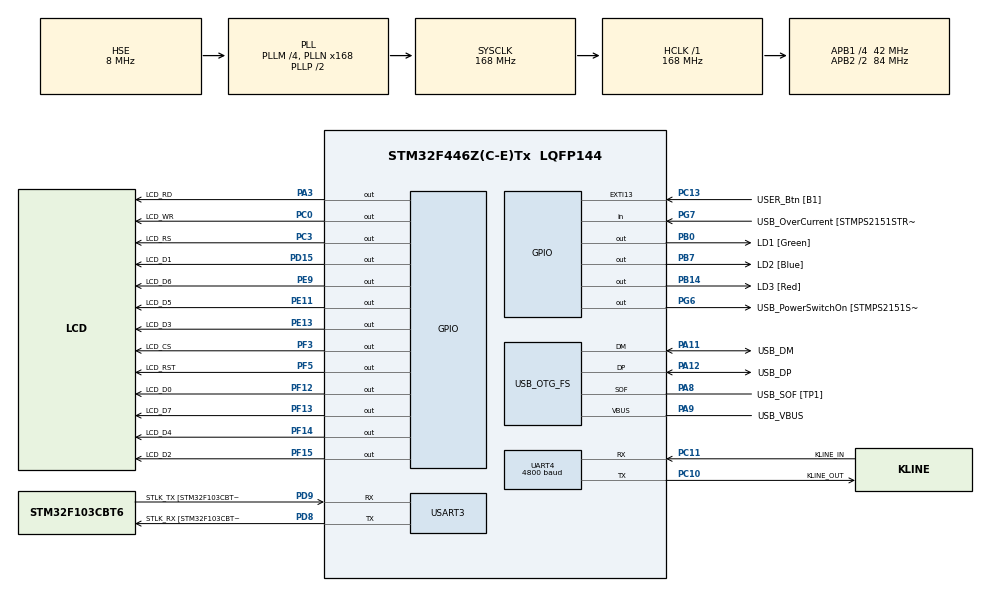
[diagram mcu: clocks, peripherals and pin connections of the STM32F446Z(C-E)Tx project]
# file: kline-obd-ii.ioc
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Mcu.Family=STM32F4
Mcu.Name=STM32F446Z(C-E)Tx
Mcu.Package=LQFP144
NVIC.OTG_FS_IRQn=true\:0\:0\:false\:false\:true\:false\:true\:true
NVIC.PriorityGroup=NVIC_PRIORITYGROUP_4
NVIC.TIM7_IRQn=true\:0\:0\:false\:false\:true\:true\:true\:true
NVIC.UART4_IRQn=true\:0\:0\:false\:false\:true\:true\:true\:true
NVIC.USART3_IRQn=true\:0\:0\:false\:false\:true\:true\:true\:true
PA10.GPIO_Label=USB_ID
PA10.Signal=USB_OTG_FS_ID
PA11.GPIO_Label=USB_DM
PA11.Mode=Host_Only
PA11.Signal=USB_OTG_FS_DM
PA12.GPIO_Label=USB_DP
PA12.Mode=Host_Only
PA12.Signal=USB_OTG_FS_DP
PA13.GPIO_Label=TMS
PA13.Mode=Serial_Wire
PA13.Signal=SYS_JTMS-SWDIO
PA14.GPIO_Label=TCK
PA14.Mode=Serial_Wire
PA14.Signal=SYS_JTCK-SWCLK
PA3.GPIO_Label=LCD_RD
PA3.GPIO_Speed=GPIO_SPEED_FREQ_VERY_HIGH
PA3.Signal=GPIO_Output
PA8.GPIO_Label=USB_SOF [TP1]
PA8.Mode=Activate_SOF_FS
PA8.Signal=USB_OTG_FS_SOF
PA9.GPIO_Label=USB_VBUS
PA9.Mode=Activate_VBUS
PA9.Signal=USB_OTG_FS_VBUS
PB0.GPIO_Label=LD1 [Green]
PB0.Signal=GPIO_Output
PB14.GPIO_Label=LD3 [Red]
PB14.Signal=GPIO_Output
PB7.GPIO_Label=LD2 [Blue]
PB7.Signal=GPIO_Output
PC0.GPIO_Label=LCD_WR
PC0.GPIO_Speed=GPIO_SPEED_FREQ_VERY_HIGH
PC0.Signal=GPIO_Output
PC10.GPIO_Label=KLINE_OUT
PC10.Mode=Asynchronous
PC10.Signal=UART4_TX
PC11.GPIO_Label=KLINE_IN
PC11.GPIO_ModeDefaultPP=GPIO_MODE_AF_PP
PC11.GPIO_PuPd=GPIO_NOPULL
PC11.Mode=Asynchronous
PC11.Signal=UART4_RX
PC13.GPIO_Label=USER_Btn [B1]
PC13.Signal=GPXTI13
PC14-OSC32_IN.Mode=LSE-External-Oscillator
PC14-OSC32_IN.Signal=RCC_OSC32_IN
PC15-OSC32_OUT.Mode=LSE-External-Oscillator
PC15-OSC32_OUT.Signal=RCC_OSC32_OUT
PC3.GPIO_Label=LCD_RS
PC3.GPIO_Speed=GPIO_SPEED_FREQ_VERY_HIGH
PC3.Signal=GPIO_Output
PD15.GPIO_Label=LCD_D1
PD15.GPIO_Speed=GPIO_SPEED_FREQ_VERY_HIGH
PD15.Signal=GPIO_Output
PD8.GPIO_Label=STLK_RX [STM32F103CBT6_PA3]
PD8.Mode=Asynchronous
PD8.Signal=USART3_TX
PD9.GPIO_Label=STLK_TX [STM32F103CBT6_PA2]
PD9.Mode=Asynchronous
PD9.Signal=USART3_RX
PE11.GPIO_Label=LCD_D5
PE11.GPIO_Speed=GPIO_SPEED_FREQ_VERY_HIGH
PE11.Signal=GPIO_Output
PE13.GPIO_Label=LCD_D3
PE13.GPIO_Speed=GPIO_SPEED_FREQ_VERY_HIGH
PE13.Signal=GPIO_Output
PE9.GPIO_Label=LCD_D6
PE9.GPIO_Speed=GPIO_SPEED_FREQ_VERY_HIGH
PE9.Signal=GPIO_Output
PF12.GPIO_Label=LCD_D0
PF12.GPIO_Speed=GPIO_SPEED_FREQ_VERY_HIGH
PF12.Signal=GPIO_Output
PF13.GPIO_Label=LCD_D7
PF13.GPIO_Speed=GPIO_SPEED_FREQ_VERY_HIGH
PF13.Signal=GPIO_Output
PF14.GPIO_Label=LCD_D4
PF14.GPIO_Speed=GPIO_SPEED_FREQ_VERY_HIGH
PF14.Signal=GPIO_Output
PF15.GPIO_Label=LCD_D2
PF15.GPIO_Speed=GPIO_SPEED_FREQ_VERY_HIGH
PF15.Signal=GPIO_Output
PF3.GPIO_Label=LCD_CS
PF3.GPIO_Speed=GPIO_SPEED_FREQ_VERY_HIGH
PF3.Signal=GPIO_Output
PF5.GPIO_Label=LCD_RST
PF5.GPIO_Speed=GPIO_SPEED_FREQ_VERY_HIGH
PF5.Signal=GPIO_Output
PG6.GPIO_Label=USB_PowerSwitchOn [STMPS2151STR_EN]
PG6.Signal=GPIO_Output
PG7.GPIO_Label=USB_OverCurrent [STMPS2151STR_FAULT]
PG7.Signal=GPIO_Input
PH0-OSC_IN.GPIO_Label=MCO [STM32F103CBT6_PA8]
PH0-OSC_IN.Mode=HSE-External-Clock-Source
PH0-OSC_IN.Signal=RCC_OSC_IN
PH1-OSC_OUT.Mode=HSE-External-Clock-Source
PH1-OSC_OUT.Signal=RCC_OSC_OUT
ProjectManager.HeapSize=0x200
ProjectManager.StackSize=0x400
ProjectManager.TargetToolchain=STM32CubeIDE
RCC.48MHZClocksFreq_Value=24000000
RCC.AHBFreq_Value=168000000
RCC.APB1CLKDivider=RCC_HCLK_DIV4
RCC.APB1Freq_Value=42000000
RCC.APB1TimFreq_Value=84000000
RCC.APB2CLKDivider=RCC_HCLK_DIV2
RCC.APB2Freq_Value=84000000
RCC.APB2TimFreq_Value=168000000
RCC.CortexFreq_Value=168000000
RCC.HCLKFreq_Value=168000000
RCC.HSE_VALUE=8000000
RCC.HSI_VALUE=16000000
RCC.PLLM=4
RCC.PLLMUL=RCC_PLL_MUL9
RCC.PLLN=168
RCC.PLLQ=7
RCC.PRESCALERUSB=RCC_USBCLKSOURCE_PLL_DIV1_5
RCC.SYSCLKFreq_VALUE=168000000
RCC.SYSCLKSource=RCC_SYSCLKSOURCE_PLLCLK
RCC.SYSCLKSourceVirtual=RCC_SYSCLKSOURCE_PLLCLK
RCC.USBFreq_Value=48000000
RCC.VCOOutputFreq_Value=336000000
TIM7.AutoReloadPreload=TIM_AUTORELOAD_PRELOAD_ENABLE
TIM7.Period=34999
TIM7.Prescaler=479
TIM7.TIM_MasterOutputTrigger=TIM_TRGO_ENABLE
UART4.BaudRate=4800
UART4.VirtualMode=Asynchronous
USART3.VirtualMode=VM_ASYNC
USB_HOST.BSP.number=1
USB_HOST.USBH_DEBUG_LEVEL-HID_FS=0
USB_HOST.USBH_HandleTypeDef-HID_FS=hUsbHostFS
USB_HOST.VirtualModeFS=Hid
USB_HOST0.BSP.STBoard=false
USB_HOST0.BSP.api=Unknown
USB_HOST0.BSP.instance=PG6
USB_HOST0.BSP.ip=GPIO
USB_HOST0.BSP.mode=Output
USB_HOST0.BSP.name=Drive_VBUS_FS
USB_HOST0.BSP.solution=PG6
USB_OTG_FS.VirtualMode=Host_Only
USB_OTG_FS.phy_itface=HCD_PHY_EMBEDDED
VP_TIM7_VS_ClockSourceINT.Mode=Enable_Timer
VP_USB_HOST_VS_USB_HOST_HID_FS.Mode=HID_FS
board=NUCLEO-F446ZE

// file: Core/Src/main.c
/* USER CODE BEGIN Header */
/**
  ******************************************************************************
  * @file           : main.c
  * @brief          : Main program body
  ******************************************************************************
  * @attention
  *
  * Copyright (c) 2023 STMicroelectronics.
  * All rights reserved.
  *
  * This software is licensed under terms that can be found in the LICENSE file
  * in the root directory of this software component.
  * If no LICENSE file comes with this software, it is provided AS-IS.
  *
  ******************************************************************************
  */
/* USER CODE END Header */
#include "main.h"
#include "usb_host.h"

/* USER CODE BEGIN Includes */
#include "lcd.h"
#include "kline.h"
#include "usbh_hid.h"
#include "usbh_hid_keybd.h"
#include "hid_keys.h"
#include <string.h>
/* USER CODE END Includes */

TIM_HandleTypeDef htim7;

UART_HandleTypeDef huart4;
UART_HandleTypeDef huart3;

void SystemClock_Config(void);
static void MX_GPIO_Init(void);
static void MX_USART3_UART_Init(void);
static void MX_TIM7_Init(void);
static void MX_UART4_Init(void);
void MX_USB_HOST_Process(void);

/* USER CODE BEGIN 0 */
void HAL_TIM_PeriodElapsedCallback(TIM_HandleTypeDef *htim) {
	if(htim != &htim7)
		return;

	kline_tim_callback();
}

char stdinbuffer[256];
extern ApplicationTypeDef Appli_state;
extern cursor_pos_t cursor_pos;
void update_lcd_command(uint8_t);
//extern USBH_HandleTypeDef hUsbHostFS;

uint8_t buttons_held[256 / 8];

void USBH_HID_EventCallback(USBH_HandleTypeDef *phost) {
	HID_KEYBD_Info_TypeDef *k_pinfo = USBH_HID_GetKeybdInfo(phost);
	if(k_pinfo != NULL) {
		uint8_t new_button = 0;
		for(uint8_t i = 0; i < sizeof(k_pinfo->keys); i++) {
			char c = k_pinfo->keys[i];
			if(c) {
				uint8_t ind = c / 8;
				uint8_t shift = c % 8;
				if((buttons_held[ind] >> shift) == 0) {
					new_button = c;
				}
			}
		}

		memset(buttons_held, 0, sizeof(buttons_held));

		for(uint8_t i = 0; i < sizeof(k_pinfo->keys); i++) {
			uint8_t c = k_pinfo->keys[i];
			if(c) {
				uint8_t ind = c / 8;
				uint8_t shift = c % 8;
				buttons_held[ind] |= (1 << shift);
			}
		}

		if(new_button) {
			/*if(new_button == KEY_ENTER && main_status == MAIN_LOOP_WAITING_FOR_ENTER) {
				main_status = MAIN_LOOP_RUNNING_INIT;
			} else if(new_button == KEY_SPACEBAR && expecting_chars == 0) {
				update_single_char('U', 0);
				expecting_chars = 2;
			} else if(expecting_chars) {
				char ascii_pressed = HID_KEYBRD_Key[HID_KEYBRD_Codes[new_button]];
				if(ascii_pressed >= '0' && ascii_pressed <= '9') {
					expecting_chars--;
					new_command = (new_command << 4) | (ascii_pressed - '0');
					update_single_char(ascii_pressed, 1);
				} else if (ascii_pressed >= 'a' && ascii_pressed <= 'f') {
					expecting_chars--;
					new_command = (new_command << 4) | (ascii_pressed - 'a' + 10);
					update_single_char(ascii_pressed, 1);
				} else if (ascii_pressed >= 'A' && ascii_pressed <= 'F') {
					expecting_chars--;
					new_command = (new_command << 4) | (ascii_pressed - 'A' + 10);
					update_single_char(ascii_pressed, 1);
				}

				if(!expecting_chars) {
					main_status = MAIN_LOOP_COMMANDS;
					current_command = new_command;
					update_lcd_command(new_command);
				}
			}*/

			/*
			uint8_t result;
			if(k_pinfo->lshift || k_pinfo->rshift) {
				result = HID_KEYBRD_ShiftKey[HID_KEYBRD_Codes[new_button]];
			} else {
				result = HID_KEYBRD_Key[HID_KEYBRD_Codes[new_button]];
			}
			if(result)
				lcd_text_putc(result);
			*/
		}
	}
}

/*void update_lcd_command(uint8_t pid) {
	lcd_clear();
	cursor_pos.row = 0;
	cursor_pos.col = 0;
	lcd_text_update_cursor();

	kline_update_command(pid);

	lcd_text_puts("Kline command: ");
	printf("Kline command: ");
	for(int i = 0; i < kline_command_len; i++) {
		lcd_text_printf("0x%02x ", kline_command[i]);
		printf("0x%02x ", kline_command[i]);
	}
	lcd_text_putc('\n');
	printf("\n");
}*/

enum main_loop_state {
	MAIN_LOOP_DELAY,
	MAIN_LOOP_GPIO_INIT,
	MAIN_LOOP_RUN_INIT,
	MAIN_LOOP_WAIT_FOR_RESPONSE,
	MAIN_LOOP_WAIT_UNTIL_INIT_DONE,
};

enum main_loop_state main_status;
struct {
	uint32_t switch_timestamp;
	enum main_loop_state new_state;
} delay_info;

void start_delay(uint32_t time, enum main_loop_state new_state) {
	delay_info.switch_timestamp = HAL_GetTick() + time;
	delay_info.new_state = new_state;
	main_status = MAIN_LOOP_DELAY;
}
/* USER CODE END 0 */

int main(void)
{
  /* USER CODE BEGIN 1 */
  setvbuf(stdin, stdinbuffer, _IOLBF, sizeof(stdinbuffer));

  /* USER CODE END 1 */

  /* MCU Configuration--------------------------------------------------------*/

  /* Reset of all peripherals, Initializes the Flash interface and the Systick. */
  HAL_Init();

  /* Configure the system clock */
  SystemClock_Config();

  /* Initialize all configured peripherals */
  MX_GPIO_Init();
  MX_USART3_UART_Init();
  MX_TIM7_Init();
  MX_UART4_Init();
  MX_USB_HOST_Init();
  /* USER CODE BEGIN 2 */

  printf("\n----- PROGRAM BEGIN -----\n");
  fflush(stdout);

  lcd_init();
  kline_setup(&htim7, &huart4);
  kline_5baud_gpio_init();
  start_delay(6000, MAIN_LOOP_GPIO_INIT);

  /* USER CODE END 2 */

  /* Infinite loop */
  /* USER CODE BEGIN WHILE */
  const uint8_t STARTING_ADDRESS = 0x30;
  uint8_t write_bytes = 0;
	uint32_t timestamp = 0;
	uint8_t address = STARTING_ADDRESS;

	kline_run_init(0xf7);
	while(!kline_init_done())
		;
	while(1) { }

  while (1)
  {
	// ...
    /* USER CODE END WHILE */
    MX_USB_HOST_Process();

    /* USER CODE BEGIN 3 */
	/*if(HAL_GPIO_ReadPin(USER_Btn_GPIO_Port, USER_Btn_Pin) == GPIO_PIN_SET) {
		if(main_status == MAIN_LOOP_DELAY) {
			main_status = MAIN_LOOP_SEND_REGULAR_COMMAND;
		}
	}*/

	switch(main_status) {
	case MAIN_LOOP_DELAY:
		if(HAL_GetTick() > delay_info.switch_timestamp) {
			main_status = delay_info.new_state;
		}
		break;
	case MAIN_LOOP_GPIO_INIT:
		start_delay(50, MAIN_LOOP_RUN_INIT);
		break;
	case MAIN_LOOP_RUN_INIT:
		if(timestamp && address == STARTING_ADDRESS){
			printf("Done. %u %u\n", timestamp, address);
			Error_Handler();
		}
		printf("Address 0x%02x ", address);
		fflush(stdout);
		kline_run_init(address);
		address++;
		main_status = MAIN_LOOP_WAIT_UNTIL_INIT_DONE;
		break;
	case MAIN_LOOP_WAIT_UNTIL_INIT_DONE:
		if(kline_init_done()) {
			main_status = MAIN_LOOP_WAIT_FOR_RESPONSE;
			timestamp = HAL_GetTick();
		}
		break;
	case MAIN_LOOP_WAIT_FOR_RESPONSE:
		if(HAL_GPIO_ReadPin(KLINE_IN_GPIO_Port, KLINE_IN_Pin) == GPIO_PIN_RESET) {
			printf(" OK!\n");
			start_delay(10000, MAIN_LOOP_GPIO_INIT);
		} else if(HAL_GetTick() > timestamp + 1100) {
			putchar('\n');
			main_status = MAIN_LOOP_GPIO_INIT;
		}
		fflush(stdout);

		break;
	}

	/*
	printf("Sending data\n");
	kw2_state = WAITING_FOR_SYNC;
	printf("Running init with address " STR(KLINE_INIT_ADDRESS) "\n");
	kline_run_init(KLINE_INIT_ADDRESS);

	while(kw2_state != WAITING_FOR_NOT_ADDR)
	  ;

	HAL_Delay(30);

	uint8_t data = not_kw2;
	HAL_ASSERT(HAL_UART_Transmit(&huart4, &data, 1, 1000));
	lcd_text_printf("Sent 0x%x\n", data);

	while(kw2_state != INIT_DONE)
	  ;

	HAL_Delay(2000);
	lcd_text_puts("Init successful\n");
	HAL_Delay(2000);
	update_lcd_command(current_command);
	lcd_clear();
	main_status = MAIN_LOOP_SEND_SPEED;
	*/
  /* USER CODE END 3 */
  }
}

void SystemClock_Config(void)
{
  RCC_OscInitTypeDef RCC_OscInitStruct = {0};
  RCC_ClkInitTypeDef RCC_ClkInitStruct = {0};

  /** Configure the main internal regulator output voltage
  */
  __HAL_RCC_PWR_CLK_ENABLE();
  __HAL_PWR_VOLTAGESCALING_CONFIG(PWR_REGULATOR_VOLTAGE_SCALE1);

  /** Initializes the RCC Oscillators according to the specified parameters
  * in the RCC_OscInitTypeDef structure.
  */
  RCC_OscInitStruct.OscillatorType = RCC_OSCILLATORTYPE_HSE;
  RCC_OscInitStruct.HSEState = RCC_HSE_BYPASS;
  RCC_OscInitStruct.PLL.PLLState = RCC_PLL_ON;
  RCC_OscInitStruct.PLL.PLLSource = RCC_PLLSOURCE_HSE;
  RCC_OscInitStruct.PLL.PLLM = 4;
  RCC_OscInitStruct.PLL.PLLN = 168;
  RCC_OscInitStruct.PLL.PLLP = RCC_PLLP_DIV2;
  RCC_OscInitStruct.PLL.PLLQ = 7;
  RCC_OscInitStruct.PLL.PLLR = 2;
  if (HAL_RCC_OscConfig(&RCC_OscInitStruct) != HAL_OK)
  {
    Error_Handler();
  }

  /** Initializes the CPU, AHB and APB buses clocks
  */
  RCC_ClkInitStruct.ClockType = RCC_CLOCKTYPE_HCLK|RCC_CLOCKTYPE_SYSCLK
                              |RCC_CLOCKTYPE_PCLK1|RCC_CLOCKTYPE_PCLK2;
  RCC_ClkInitStruct.SYSCLKSource = RCC_SYSCLKSOURCE_PLLCLK;
  RCC_ClkInitStruct.AHBCLKDivider = RCC_SYSCLK_DIV1;
  RCC_ClkInitStruct.APB1CLKDivider = RCC_HCLK_DIV4;
  RCC_ClkInitStruct.APB2CLKDivider = RCC_HCLK_DIV2;

  if (HAL_RCC_ClockConfig(&RCC_ClkInitStruct, FLASH_LATENCY_5) != HAL_OK)
  {
    Error_Handler();
  }
}

static void MX_TIM7_Init(void)
{

  TIM_MasterConfigTypeDef sMasterConfig = {0};

  htim7.Instance = TIM7;
  htim7.Init.Prescaler = 479;
  htim7.Init.CounterMode = TIM_COUNTERMODE_UP;
  htim7.Init.Period = 34999;
  htim7.Init.AutoReloadPreload = TIM_AUTORELOAD_PRELOAD_ENABLE;
  if (HAL_TIM_Base_Init(&htim7) != HAL_OK)
  {
    Error_Handler();
  }
  sMasterConfig.MasterOutputTrigger = TIM_TRGO_ENABLE;
  sMasterConfig.MasterSlaveMode = TIM_MASTERSLAVEMODE_DISABLE;
  if (HAL_TIMEx_MasterConfigSynchronization(&htim7, &sMasterConfig) != HAL_OK)
  {
    Error_Handler();
  }

}

static void MX_UART4_Init(void)
{

  huart4.Instance = UART4;
  huart4.Init.BaudRate = 4800;
  huart4.Init.WordLength = UART_WORDLENGTH_8B;
  huart4.Init.StopBits = UART_STOPBITS_1;
  huart4.Init.Parity = UART_PARITY_NONE;
  huart4.Init.Mode = UART_MODE_TX_RX;
  huart4.Init.HwFlowCtl = UART_HWCONTROL_NONE;
  huart4.Init.OverSampling = UART_OVERSAMPLING_16;
  if (HAL_UART_Init(&huart4) != HAL_OK)
  {
    Error_Handler();
  }

}

static void MX_USART3_UART_Init(void)
{

  huart3.Instance = USART3;
  huart3.Init.BaudRate = 115200;
  huart3.Init.WordLength = UART_WORDLENGTH_8B;
  huart3.Init.StopBits = UART_STOPBITS_1;
  huart3.Init.Parity = UART_PARITY_NONE;
  huart3.Init.Mode = UART_MODE_TX_RX;
  huart3.Init.HwFlowCtl = UART_HWCONTROL_NONE;
  huart3.Init.OverSampling = UART_OVERSAMPLING_16;
  if (HAL_UART_Init(&huart3) != HAL_OK)
  {
    Error_Handler();
  }

}

static void MX_GPIO_Init(void)
{
  GPIO_InitTypeDef GPIO_InitStruct = {0};

  /* GPIO Ports Clock Enable */
  __HAL_RCC_GPIOC_CLK_ENABLE();
  __HAL_RCC_GPIOF_CLK_ENABLE();
  __HAL_RCC_GPIOH_CLK_ENABLE();
  __HAL_RCC_GPIOA_CLK_ENABLE();
  __HAL_RCC_GPIOB_CLK_ENABLE();
  __HAL_RCC_GPIOE_CLK_ENABLE();
  __HAL_RCC_GPIOD_CLK_ENABLE();
  __HAL_RCC_GPIOG_CLK_ENABLE();

  /*Configure GPIO pin Output Level */
  HAL_GPIO_WritePin(GPIOF, LCD_CS_Pin|LCD_RST_Pin|LCD_D0_Pin|LCD_D7_Pin
                          |LCD_D4_Pin|LCD_D2_Pin, GPIO_PIN_RESET);

  /*Configure GPIO pin Output Level */
  HAL_GPIO_WritePin(GPIOC, LCD_WR_Pin|LCD_RS_Pin, GPIO_PIN_RESET);

  /*Configure GPIO pin Output Level */
  HAL_GPIO_WritePin(LCD_RD_GPIO_Port, LCD_RD_Pin, GPIO_PIN_RESET);

  /*Configure GPIO pin Output Level */
  HAL_GPIO_WritePin(GPIOB, LD1_Pin|LD3_Pin|LD2_Pin, GPIO_PIN_RESET);

  /*Configure GPIO pin Output Level */
  HAL_GPIO_WritePin(GPIOE, LCD_D6_Pin|LCD_D5_Pin|LCD_D3_Pin, GPIO_PIN_RESET);

  /*Configure GPIO pin Output Level */
  HAL_GPIO_WritePin(LCD_D1_GPIO_Port, LCD_D1_Pin, GPIO_PIN_RESET);

  /*Configure GPIO pin Output Level */
  HAL_GPIO_WritePin(USB_PowerSwitchOn_GPIO_Port, USB_PowerSwitchOn_Pin, GPIO_PIN_RESET);

  /*Configure GPIO pin : USER_Btn_Pin */
  GPIO_InitStruct.Pin = USER_Btn_Pin;
  GPIO_InitStruct.Mode = GPIO_MODE_IT_RISING;
  GPIO_InitStruct.Pull = GPIO_NOPULL;
  HAL_GPIO_Init(USER_Btn_GPIO_Port, &GPIO_InitStruct);

  /*Configure GPIO pins : LCD_CS_Pin LCD_RST_Pin LCD_D0_Pin LCD_D7_Pin
                           LCD_D4_Pin LCD_D2_Pin */
  GPIO_InitStruct.Pin = LCD_CS_Pin|LCD_RST_Pin|LCD_D0_Pin|LCD_D7_Pin
                          |LCD_D4_Pin|LCD_D2_Pin;
  GPIO_InitStruct.Mode = GPIO_MODE_OUTPUT_PP;
  GPIO_InitStruct.Pull = GPIO_NOPULL;
  GPIO_InitStruct.Speed = GPIO_SPEED_FREQ_VERY_HIGH;
  HAL_GPIO_Init(GPIOF, &GPIO_InitStruct);

  /*Configure GPIO pins : LCD_WR_Pin LCD_RS_Pin */
  GPIO_InitStruct.Pin = LCD_WR_Pin|LCD_RS_Pin;
  GPIO_InitStruct.Mode = GPIO_MODE_OUTPUT_PP;
  GPIO_InitStruct.Pull = GPIO_NOPULL;
  GPIO_InitStruct.Speed = GPIO_SPEED_FREQ_VERY_HIGH;
  HAL_GPIO_Init(GPIOC, &GPIO_InitStruct);

  /*Configure GPIO pin : LCD_RD_Pin */
  GPIO_InitStruct.Pin = LCD_RD_Pin;
  GPIO_InitStruct.Mode = GPIO_MODE_OUTPUT_PP;
  GPIO_InitStruct.Pull = GPIO_NOPULL;
  GPIO_InitStruct.Speed = GPIO_SPEED_FREQ_VERY_HIGH;
  HAL_GPIO_Init(LCD_RD_GPIO_Port, &GPIO_InitStruct);

  /*Configure GPIO pins : LD1_Pin LD3_Pin LD2_Pin */
  GPIO_InitStruct.Pin = LD1_Pin|LD3_Pin|LD2_Pin;
  GPIO_InitStruct.Mode = GPIO_MODE_OUTPUT_PP;
  GPIO_InitStruct.Pull = GPIO_NOPULL;
  GPIO_InitStruct.Speed = GPIO_SPEED_FREQ_LOW;
  HAL_GPIO_Init(GPIOB, &GPIO_InitStruct);

  /*Configure GPIO pins : LCD_D6_Pin LCD_D5_Pin LCD_D3_Pin */
  GPIO_InitStruct.Pin = LCD_D6_Pin|LCD_D5_Pin|LCD_D3_Pin;
  GPIO_InitStruct.Mode = GPIO_MODE_OUTPUT_PP;
  GPIO_InitStruct.Pull = GPIO_NOPULL;
  GPIO_InitStruct.Speed = GPIO_SPEED_FREQ_VERY_HIGH;
  HAL_GPIO_Init(GPIOE, &GPIO_InitStruct);

  /*Configure GPIO pin : LCD_D1_Pin */
  GPIO_InitStruct.Pin = LCD_D1_Pin;
  GPIO_InitStruct.Mode = GPIO_MODE_OUTPUT_PP;
  GPIO_InitStruct.Pull = GPIO_NOPULL;
  GPIO_InitStruct.Speed = GPIO_SPEED_FREQ_VERY_HIGH;
  HAL_GPIO_Init(LCD_D1_GPIO_Port, &GPIO_InitStruct);

  /*Configure GPIO pin : USB_PowerSwitchOn_Pin */
  GPIO_InitStruct.Pin = USB_PowerSwitchOn_Pin;
  GPIO_InitStruct.Mode = GPIO_MODE_OUTPUT_PP;
  GPIO_InitStruct.Pull = GPIO_NOPULL;
  GPIO_InitStruct.Speed = GPIO_SPEED_FREQ_LOW;
  HAL_GPIO_Init(USB_PowerSwitchOn_GPIO_Port, &GPIO_InitStruct);

  /*Configure GPIO pin : USB_OverCurrent_Pin */
  GPIO_InitStruct.Pin = USB_OverCurrent_Pin;
  GPIO_InitStruct.Mode = GPIO_MODE_INPUT;
  GPIO_InitStruct.Pull = GPIO_NOPULL;
  HAL_GPIO_Init(USB_OverCurrent_GPIO_Port, &GPIO_InitStruct);

}

/* USER CODE BEGIN 4 */
int __io_putchar(int ch) {
	uint8_t c = ch;
	HAL_UART_Transmit(&huart3, &c, 1, 0xffff);
	return 1;
}

int __io_getchar(void) {
	uint8_t data;
	HAL_UART_Receive(&huart3, &data, 1, HAL_MAX_DELAY);
	return data;
}
/* USER CODE END 4 */

void Error_Handler(void)
{
  /* USER CODE BEGIN Error_Handler_Debug */
  /* User can add his own implementation to report the HAL error return state */
  fflush(stdout);
  __disable_irq();
  HAL_GPIO_WritePin(LD2_GPIO_Port, LD2_Pin, GPIO_PIN_RESET);
  HAL_GPIO_WritePin(LD3_GPIO_Port, LD3_Pin, GPIO_PIN_SET);
  while (1)
  {
	  for(uint32_t i = 0; i < 1e6; i++)
		  ;
	  HAL_GPIO_TogglePin(LD2_GPIO_Port, LD2_Pin);
	  HAL_GPIO_TogglePin(LD3_GPIO_Port, LD3_Pin);
  }
  /* USER CODE END Error_Handler_Debug */
}
